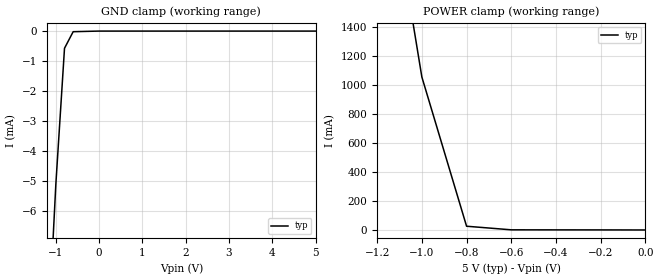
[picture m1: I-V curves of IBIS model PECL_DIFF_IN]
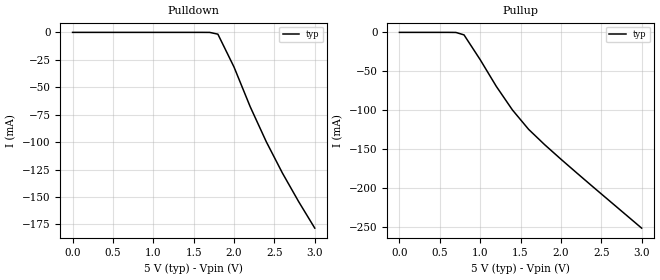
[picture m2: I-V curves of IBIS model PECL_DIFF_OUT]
[IBIS Ver]   3.2
[File Name]   diff_pecl_term.ibs
[File Rev]   0.1
[Date]   December 22, 1998
[Source]   Taken from a sample differential model
[Notes]   This sample demonstrates an application of the BIRD56.1
   additional capability of using a series element as a
   differential terminator.
   It also demonstrates several other Version 3.2 IBIS
   features including:
   file name greater than 8 characters
   The [R Series] Series element
   Differential PECL Inputs and Outputs
   Use of a Series element as a differential terminator
[Disclaimer]   This information is for modeling purposes and is not
|   guaranteed.
|   WARNING: THIS MODEL HAS NOT BEEN CHECKED USING IBISCHK3
|   WHICH IS UNDER DEVELOPMENT.  IT MAY CONTAIN SYNTAX ERRORS.
[Copyright]   None - public sample
|   Component DIFF_PECL_TERM
[Component]   DIFF_PECL_TERM
[Manufacturer]   None
[Package]
| variable   typ   min   max
R_pkg   0.0m		NA		NA
L_pkg   3.0nH		NA		NA
C_pkg   1.0pF		NA		NA
[Pin]  signal_name   model_name   R_pin   L_pin   C_pin
1   IN+   PECL_DIFF_IN
2   IN-   PECL_DIFF_IN
3   Q+   PECL_DIFF_OUT
4   Q-   PECL_DIFF_OUT
5   GND   GND
6   VCC   POWER
[Diff_Pin]   inv_pin	vdiff	tdelay_typ tdelay_min tdelay_max
1   2	0.25	0	NA		NA
3	4	0	0	NA		NA
[Series Pin Mapping]  pin_2   model_name   function_table_group
  1   2   R_SERIES_100
  3   4   R_SERIES_100
|   Model R_SERIES_100
[Model]   R_SERIES_100
Model_type   Series
C_comp   0pF   0pF   0pF
|   typ   min   max
[Voltage Range]   5.0   4.5   5.5
[R Series]   100   95   105
| Models and submodels in the file (3): R_SERIES_100 (Series), PECL_DIFF_IN (Input_ECL), PECL_DIFF_OUT (Output_ECL)
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|   PECL_DIFF_IN  MODEL
[Model]   PECL_DIFF_IN
Model_type   Input_ECL
Vinh = 3.87V
Vinl = 3.52V
|   typ   min   max
C_comp   2.9pF   2.0pF   6.0pF
|   typ   min   max
[Voltage Range]   5.0V   4.5V   5.5V
[GND Clamp Reference]   0.0V   0.0V   0.0V
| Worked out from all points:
|   GND clamp passes 1 mA (typ) near -0.82 V on its own axis
|   POWER clamp passes 1 mA (typ) near -0.60 V on its own axis
[GND Clamp]
|   Voltage   I(typ)   I(min)   I(max)
-5V       -116.9mA   NA         NA
-3V       -61.51mA   NA         NA
-2V       -33.56mA   NA         NA
-1V       -5.1mA     NA         NA
-800mV    -572.8uA   NA         NA
-600mV    -20.43uA   NA         NA
-400mV    -13.3uA    NA         NA
-200mV    -6.652uA   NA         NA
0V        0A         NA         NA
5V        0A         NA         NA
[POWER Clamp]
|   Voltage   I(typ)   I(min)   I(max)
-2V       10.46A     NA         NA
-1V       1.054A     NA         NA
-800mV    25.75mA    NA         NA
-600mV    965.6uA    NA         NA
-400mV    699.5uA    NA         NA
-200mV    457.5uA    NA         NA
0V        0A         NA         NA
|   PECL_DIFF_OUT  MODEL
[Model]   PECL_DIFF_OUT
Model_type   Output_ECL
Polarity   Non-Inverting
Vmeas = 3.71
Rref = 50.0
Cref = 0.0
Vref = 3.0
|   typ   min   max
C_comp   2.9pF   2.0pF   8.0pF
|   typ   min   max
[Voltage Range]   5.0V   4.5V   5.5V
[Pulldown Reference]   5.0V   4.5V   5.5V
[GND Clamp Reference]   0.0V   0.0V   0.0V
[Pulldown]
|   Voltage   I(typ)   I(min)   I(max)
0V        0A         NA         NA
1.5V      0A         NA         NA
1.6V      -950.4nA   NA         NA
1.7V      -44.12uA   NA         NA
1.8V      -1.643mA   NA         NA
2V        -31.61mA   NA         NA
2.2V      -67.72mA   NA         NA
2.4V      -99.74mA   NA         NA
2.6V      -128.3mA   NA         NA
2.8V      -154.2mA   NA         NA
3V        -178.4mA   NA         NA
[Pullup]
|   Voltage   I(typ)   I(min)   I(max)
0V        0A         NA         NA
700mV     -110.1uA   NA         NA
800mV     -3.236mA   NA         NA
1V        -35.04mA   NA         NA
1.2V      -69.41mA   NA         NA
1.4V      -99.73mA   NA         NA
1.6V      -124.6mA   NA         NA
2V        -162.9mA   NA         NA
3V        -251.5mA   NA         NA
[Ramp]
|   typ   min   max
dV/dt_r   1.5/0.33n   NA   NA
dV/dt_f   2.0/0.33n   NA   NA
